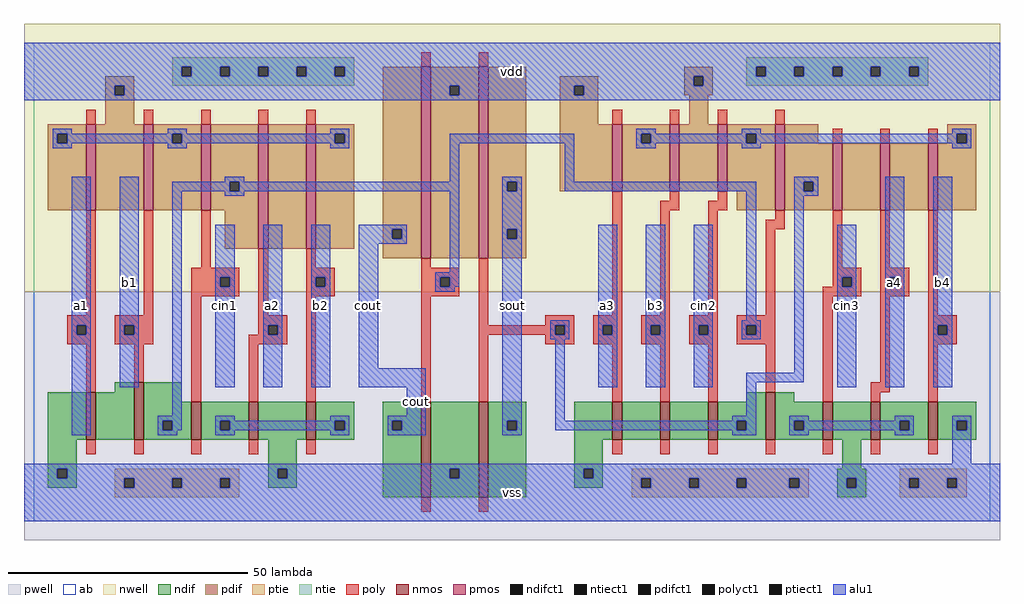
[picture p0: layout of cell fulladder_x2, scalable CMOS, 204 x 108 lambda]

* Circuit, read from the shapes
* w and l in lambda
.subckt fulladder_x2 a1 a2 a3 a4 b1 b2 b3 b4 cin1 cin2 cin3 cout sout vdd vss
M1 n1 a1 vss vss nfet w=10 l=2
M2 n2 b1 n1 vss nfet w=12 l=2
M3 n3 cin1 n2 vss nfet w=8 l=2
M4 vss a2 n3 vss nfet w=8 l=2
M5 n3 b2 vss vss nfet w=8 l=2
M6 vss n2 cout vss nfet w=20 l=2
M7 sout n4 vss vss nfet w=20 l=2
M8 n5 a3 vss vss nfet w=8 l=2
M9 n6 b3 n5 vss nfet w=8 l=2
M10 n4 cin2 n6 vss nfet w=8 l=2
M11 n7 n2 n4 vss nfet w=10 l=2
M12 vss cin3 n7 vss nfet w=8 l=2
M13 n7 a4 vss vss nfet w=8 l=2
M14 vss b4 n7 vss nfet w=8 l=2
M15 vdd a1 n8 vdd pfet w=18 l=2
M16 n8 b1 vdd vdd pfet w=18 l=2
M17 n2 cin1 n8 vdd pfet w=18 l=2
M18 n9 a2 n2 vdd pfet w=26 l=2
M19 n8 b2 n9 vdd pfet w=26 l=2
M20 vdd n2 cout vdd pfet w=40 l=2
M21 sout n4 vdd vdd pfet w=40 l=2
M22 n10 a3 vdd vdd pfet w=14 l=2
M23 vdd b3 n10 vdd pfet w=14 l=2
M24 n10 cin2 vdd vdd pfet w=14 l=2
M25 n4 n2 n10 vdd pfet w=18 l=2
M26 n11 cin3 n4 vdd pfet w=14 l=2
M27 n12 a4 n11 vdd pfet w=14 l=2
M28 n10 b4 n12 vdd pfet w=14 l=2
.ends

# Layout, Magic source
magic
tech scmos
<< ab >>
rect 0 0 200 100
<< nwell >>
rect -2 48 202 104
<< pwell >>
rect -2 -4 202 48
<< poly >>
rect 81 95 83 98
rect 93 95 95 98
rect 11 83 13 86
rect 23 83 25 86
rect 35 83 37 86
rect 47 83 49 86
rect 57 83 59 86
rect 11 43 13 65
rect 23 43 25 65
rect 35 53 37 65
rect 7 41 13 43
rect 7 39 9 41
rect 11 39 13 41
rect 7 37 13 39
rect 17 41 25 43
rect 17 39 19 41
rect 21 39 25 41
rect 17 37 25 39
rect 33 51 43 53
rect 33 49 39 51
rect 41 49 43 51
rect 33 47 43 49
rect 11 27 13 37
rect 21 29 23 37
rect 33 25 35 47
rect 47 43 49 57
rect 57 53 59 57
rect 121 83 123 86
rect 133 83 135 86
rect 143 83 145 86
rect 155 83 157 86
rect 81 53 83 55
rect 57 51 63 53
rect 57 49 59 51
rect 61 49 63 51
rect 57 47 63 49
rect 81 51 89 53
rect 81 49 85 51
rect 87 49 89 51
rect 81 47 89 49
rect 47 41 53 43
rect 47 39 49 41
rect 51 39 53 41
rect 45 37 53 39
rect 45 25 47 37
rect 57 25 59 47
rect 81 25 83 47
rect 93 41 95 55
rect 121 43 123 69
rect 133 67 135 69
rect 143 67 145 69
rect 131 65 135 67
rect 141 65 145 67
rect 167 79 169 82
rect 177 79 179 82
rect 187 79 189 82
rect 131 43 133 65
rect 141 43 143 65
rect 155 63 157 65
rect 153 61 157 63
rect 153 43 155 61
rect 167 53 169 65
rect 177 53 179 65
rect 167 51 173 53
rect 167 49 169 51
rect 171 49 173 51
rect 107 41 113 43
rect 93 39 109 41
rect 111 39 113 41
rect 93 25 95 39
rect 107 37 113 39
rect 117 41 123 43
rect 117 39 119 41
rect 121 39 123 41
rect 117 37 123 39
rect 127 41 133 43
rect 127 39 129 41
rect 131 39 133 41
rect 127 37 133 39
rect 137 41 143 43
rect 137 39 139 41
rect 141 39 143 41
rect 137 37 143 39
rect 147 41 155 43
rect 147 39 149 41
rect 151 39 155 41
rect 147 37 155 39
rect 121 25 123 37
rect 131 25 133 37
rect 141 25 143 37
rect 153 27 155 37
rect 165 47 173 49
rect 177 51 183 53
rect 177 49 179 51
rect 181 49 183 51
rect 177 47 183 49
rect 11 14 13 17
rect 21 14 23 17
rect 33 14 35 17
rect 45 14 47 17
rect 57 14 59 17
rect 165 25 167 47
rect 177 29 179 47
rect 175 27 179 29
rect 187 43 189 65
rect 187 41 193 43
rect 187 39 189 41
rect 191 39 193 41
rect 187 37 193 39
rect 175 25 177 27
rect 187 25 189 37
rect 121 14 123 17
rect 131 14 133 17
rect 141 14 143 17
rect 153 14 155 17
rect 165 14 167 17
rect 175 14 177 17
rect 187 14 189 17
rect 81 2 83 5
rect 93 2 95 5
<< ndif >>
rect 17 27 21 29
rect 3 17 11 27
rect 13 17 21 27
rect 23 25 31 29
rect 149 25 153 27
rect 23 21 33 25
rect 23 19 27 21
rect 29 19 33 21
rect 23 17 33 19
rect 35 21 45 25
rect 35 19 39 21
rect 41 19 45 21
rect 35 17 45 19
rect 47 17 57 25
rect 59 21 67 25
rect 59 19 63 21
rect 65 19 67 21
rect 59 17 67 19
rect 73 21 81 25
rect 73 19 75 21
rect 77 19 81 21
rect 3 11 9 17
rect 49 11 55 17
rect 3 9 5 11
rect 7 9 9 11
rect 3 7 9 9
rect 49 9 51 11
rect 53 9 55 11
rect 49 7 55 9
rect 73 5 81 19
rect 83 11 93 25
rect 83 9 87 11
rect 89 9 93 11
rect 83 5 93 9
rect 95 21 103 25
rect 95 19 99 21
rect 101 19 103 21
rect 95 5 103 19
rect 113 17 121 25
rect 123 17 131 25
rect 133 17 141 25
rect 143 21 153 25
rect 143 19 147 21
rect 149 19 153 21
rect 143 17 153 19
rect 155 25 159 27
rect 155 21 165 25
rect 155 19 159 21
rect 161 19 165 21
rect 155 17 165 19
rect 167 17 175 25
rect 177 21 187 25
rect 177 19 181 21
rect 183 19 187 21
rect 177 17 187 19
rect 189 21 197 25
rect 189 19 193 21
rect 195 19 197 21
rect 189 17 197 19
rect 113 11 119 17
rect 169 11 173 17
rect 113 9 115 11
rect 117 9 119 11
rect 113 7 119 9
rect 168 9 174 11
rect 168 7 170 9
rect 172 7 174 9
rect 168 5 174 7
<< pdif >>
rect 15 91 21 93
rect 15 89 17 91
rect 19 89 21 91
rect 15 83 21 89
rect 3 81 11 83
rect 3 79 5 81
rect 7 79 11 81
rect 3 65 11 79
rect 13 65 23 83
rect 25 81 35 83
rect 25 79 29 81
rect 31 79 35 81
rect 25 65 35 79
rect 37 71 47 83
rect 37 69 41 71
rect 43 69 47 71
rect 37 65 47 69
rect 40 57 47 65
rect 49 57 57 83
rect 59 81 67 83
rect 59 79 63 81
rect 65 79 67 81
rect 59 57 67 79
rect 73 61 81 95
rect 73 59 75 61
rect 77 59 81 61
rect 73 55 81 59
rect 83 91 93 95
rect 83 89 87 91
rect 89 89 93 91
rect 83 55 93 89
rect 95 71 103 95
rect 136 93 142 95
rect 95 69 99 71
rect 101 69 103 71
rect 110 91 118 93
rect 110 89 113 91
rect 115 89 118 91
rect 136 91 138 93
rect 140 91 142 93
rect 136 89 142 91
rect 110 83 118 89
rect 137 83 141 89
rect 110 69 121 83
rect 123 81 133 83
rect 123 79 127 81
rect 129 79 133 81
rect 123 69 133 79
rect 135 69 143 83
rect 145 81 155 83
rect 145 79 149 81
rect 151 79 155 81
rect 145 69 155 79
rect 95 61 103 69
rect 95 59 99 61
rect 101 59 103 61
rect 95 55 103 59
rect 147 65 155 69
rect 157 79 164 83
rect 191 81 197 83
rect 191 79 193 81
rect 195 79 197 81
rect 157 71 167 79
rect 157 69 161 71
rect 163 69 167 71
rect 157 65 167 69
rect 169 65 177 79
rect 179 65 187 79
rect 189 65 197 79
<< alu1 >>
rect -2 95 202 100
rect -2 93 31 95
rect 33 93 39 95
rect 41 93 47 95
rect 49 93 55 95
rect 57 93 63 95
rect 65 93 151 95
rect 153 93 159 95
rect 161 93 167 95
rect 169 93 175 95
rect 177 93 183 95
rect 185 93 202 95
rect -2 91 138 93
rect 140 91 202 93
rect -2 89 17 91
rect 19 89 87 91
rect 89 89 113 91
rect 115 89 202 91
rect -2 88 202 89
rect 4 81 8 82
rect 28 81 32 82
rect 62 81 66 82
rect 126 81 130 82
rect 148 81 152 82
rect 192 81 196 82
rect 4 79 5 81
rect 7 79 29 81
rect 31 79 63 81
rect 65 79 66 81
rect 4 78 8 79
rect 28 78 32 79
rect 62 78 66 79
rect 87 79 113 81
rect 8 41 12 72
rect 8 39 9 41
rect 11 39 12 41
rect 8 18 12 39
rect 18 41 22 72
rect 40 71 44 72
rect 87 71 89 79
rect 18 39 19 41
rect 21 39 22 41
rect 18 28 22 39
rect 29 69 41 71
rect 43 69 89 71
rect 29 22 31 69
rect 40 68 44 69
rect 38 51 42 62
rect 38 49 39 51
rect 41 49 42 51
rect 38 28 42 49
rect 48 41 52 62
rect 48 39 49 41
rect 51 39 52 41
rect 48 28 52 39
rect 58 51 62 62
rect 58 49 59 51
rect 61 49 62 51
rect 58 28 62 49
rect 68 61 78 62
rect 68 59 75 61
rect 77 59 78 61
rect 68 58 78 59
rect 68 32 72 58
rect 87 52 89 69
rect 84 51 89 52
rect 84 49 85 51
rect 87 49 89 51
rect 98 71 102 72
rect 98 69 99 71
rect 101 69 102 71
rect 111 71 113 79
rect 126 79 127 81
rect 129 79 149 81
rect 151 79 193 81
rect 195 79 196 81
rect 126 78 130 79
rect 148 78 152 79
rect 192 78 196 79
rect 159 71 164 72
rect 111 69 151 71
rect 98 61 102 69
rect 98 59 99 61
rect 101 59 102 61
rect 84 48 88 49
rect 68 28 82 32
rect 78 22 82 28
rect 26 21 31 22
rect 26 19 27 21
rect 29 19 31 21
rect 38 21 42 22
rect 62 21 66 22
rect 38 19 39 21
rect 41 19 63 21
rect 65 19 66 21
rect 26 18 30 19
rect 38 18 42 19
rect 62 18 66 19
rect 74 21 82 22
rect 74 19 75 21
rect 77 19 82 21
rect 74 18 82 19
rect 98 21 102 59
rect 108 41 112 42
rect 108 39 109 41
rect 111 39 112 41
rect 108 38 112 39
rect 118 41 122 62
rect 118 39 119 41
rect 121 39 122 41
rect 98 19 99 21
rect 101 19 102 21
rect 109 21 111 38
rect 118 28 122 39
rect 128 41 132 62
rect 128 39 129 41
rect 131 39 132 41
rect 128 28 132 39
rect 138 41 142 62
rect 149 42 151 69
rect 159 69 161 71
rect 163 69 164 71
rect 159 68 164 69
rect 138 39 139 41
rect 141 39 142 41
rect 138 28 142 39
rect 148 41 152 42
rect 148 39 149 41
rect 151 39 152 41
rect 148 38 152 39
rect 159 31 161 68
rect 149 29 161 31
rect 168 51 172 62
rect 168 49 169 51
rect 171 49 172 51
rect 149 22 151 29
rect 168 28 172 49
rect 178 51 182 72
rect 178 49 179 51
rect 181 49 182 51
rect 178 28 182 49
rect 188 41 192 72
rect 188 39 189 41
rect 191 39 192 41
rect 188 28 192 39
rect 146 21 151 22
rect 109 19 147 21
rect 149 19 151 21
rect 98 18 102 19
rect 146 18 151 19
rect 158 21 162 22
rect 180 21 184 22
rect 158 19 159 21
rect 161 19 181 21
rect 183 19 184 21
rect 158 18 162 19
rect 180 18 184 19
rect 192 21 196 22
rect 192 19 193 21
rect 195 19 196 21
rect 192 12 196 19
rect -2 11 202 12
rect -2 9 5 11
rect 7 9 51 11
rect 53 9 87 11
rect 89 9 115 11
rect 117 9 202 11
rect -2 7 19 9
rect 21 7 29 9
rect 31 7 39 9
rect 41 7 127 9
rect 129 7 137 9
rect 139 7 147 9
rect 149 7 158 9
rect 160 7 170 9
rect 172 7 183 9
rect 185 7 191 9
rect 193 7 202 9
rect -2 0 202 7
<< ptie >>
rect 17 9 43 11
rect 17 7 19 9
rect 21 7 29 9
rect 31 7 39 9
rect 41 7 43 9
rect 17 5 43 7
rect 125 9 162 11
rect 125 7 127 9
rect 129 7 137 9
rect 139 7 147 9
rect 149 7 158 9
rect 160 7 162 9
rect 125 5 162 7
rect 181 9 195 11
rect 181 7 183 9
rect 185 7 191 9
rect 193 7 195 9
rect 181 5 195 7
<< ntie >>
rect 29 95 67 97
rect 149 95 187 97
rect 29 93 31 95
rect 33 93 39 95
rect 41 93 47 95
rect 49 93 55 95
rect 57 93 63 95
rect 65 93 67 95
rect 29 91 67 93
rect 149 93 151 95
rect 153 93 159 95
rect 161 93 167 95
rect 169 93 175 95
rect 177 93 183 95
rect 185 93 187 95
rect 149 91 187 93
<< nmos >>
rect 11 17 13 27
rect 21 17 23 29
rect 33 17 35 25
rect 45 17 47 25
rect 57 17 59 25
rect 81 5 83 25
rect 93 5 95 25
rect 121 17 123 25
rect 131 17 133 25
rect 141 17 143 25
rect 153 17 155 27
rect 165 17 167 25
rect 175 17 177 25
rect 187 17 189 25
<< pmos >>
rect 11 65 13 83
rect 23 65 25 83
rect 35 65 37 83
rect 47 57 49 83
rect 57 57 59 83
rect 81 55 83 95
rect 93 55 95 95
rect 121 69 123 83
rect 133 69 135 83
rect 143 69 145 83
rect 155 65 157 83
rect 167 65 169 79
rect 177 65 179 79
rect 187 65 189 79
<< polyct1 >>
rect 9 39 11 41
rect 19 39 21 41
rect 39 49 41 51
rect 59 49 61 51
rect 85 49 87 51
rect 49 39 51 41
rect 169 49 171 51
rect 109 39 111 41
rect 119 39 121 41
rect 129 39 131 41
rect 139 39 141 41
rect 149 39 151 41
rect 179 49 181 51
rect 189 39 191 41
<< ndifct1 >>
rect 27 19 29 21
rect 39 19 41 21
rect 63 19 65 21
rect 75 19 77 21
rect 5 9 7 11
rect 51 9 53 11
rect 87 9 89 11
rect 99 19 101 21
rect 147 19 149 21
rect 159 19 161 21
rect 181 19 183 21
rect 193 19 195 21
rect 115 9 117 11
rect 170 7 172 9
<< ntiect1 >>
rect 31 93 33 95
rect 39 93 41 95
rect 47 93 49 95
rect 55 93 57 95
rect 63 93 65 95
rect 151 93 153 95
rect 159 93 161 95
rect 167 93 169 95
rect 175 93 177 95
rect 183 93 185 95
<< ptiect1 >>
rect 19 7 21 9
rect 29 7 31 9
rect 39 7 41 9
rect 127 7 129 9
rect 137 7 139 9
rect 147 7 149 9
rect 158 7 160 9
rect 183 7 185 9
rect 191 7 193 9
<< pdifct1 >>
rect 17 89 19 91
rect 5 79 7 81
rect 29 79 31 81
rect 41 69 43 71
rect 63 79 65 81
rect 75 59 77 61
rect 87 89 89 91
rect 99 69 101 71
rect 113 89 115 91
rect 138 91 140 93
rect 127 79 129 81
rect 149 79 151 81
rect 99 59 101 61
rect 193 79 195 81
rect 161 69 163 71
<< labels >>
rlabel alu1 10 45 10 45 6 a1
rlabel alu1 20 50 20 50 6 b1
rlabel alu1 60 45 60 45 6 b2
rlabel alu1 50 45 50 45 6 a2
rlabel alu1 70 45 70 45 6 cout
rlabel alu1 40 45 40 45 6 cin1
rlabel alu1 100 6 100 6 6 vss
rlabel alu1 80 25 80 25 6 cout
rlabel alu1 100 45 100 45 6 sout
rlabel alu1 100 94 100 94 6 vdd
rlabel alu1 140 45 140 45 6 cin2
rlabel alu1 130 45 130 45 6 b3
rlabel alu1 120 45 120 45 6 a3
rlabel alu1 170 45 170 45 6 cin3
rlabel polyct1 180 50 180 50 6 a4
rlabel alu1 190 50 190 50 6 b4
<< end >>
